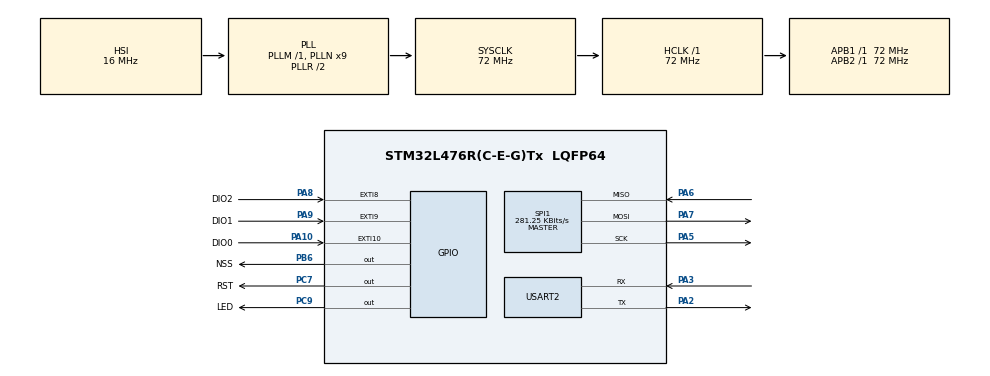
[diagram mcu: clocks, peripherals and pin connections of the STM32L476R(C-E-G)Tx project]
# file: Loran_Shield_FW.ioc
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Mcu.Family=STM32L4
Mcu.Name=STM32L476R(C-E-G)Tx
Mcu.Package=LQFP64
NVIC.EXTI15_10_IRQn=true\:0\:0\:false\:false\:true\:true\:true
NVIC.EXTI9_5_IRQn=true\:0\:0\:false\:false\:true\:true\:true
NVIC.PriorityGroup=NVIC_PRIORITYGROUP_4
NVIC.TIM4_IRQn=true\:0\:0\:false\:false\:true\:true\:true
PA10.GPIO_Label=DIO0
PA10.Signal=GPXTI10
PA13\ (JTMS-SWDIO).Mode=Serial_Wire
PA13\ (JTMS-SWDIO).Signal=SYS_JTMS-SWDIO
PA14\ (JTCK-SWCLK).Mode=Serial_Wire
PA14\ (JTCK-SWCLK).Signal=SYS_JTCK-SWCLK
PA2.Mode=Asynchronous
PA2.Signal=USART2_TX
PA3.Mode=Asynchronous
PA3.Signal=USART2_RX
PA5.Mode=Full_Duplex_Master
PA5.Signal=SPI1_SCK
PA6.Mode=Full_Duplex_Master
PA6.Signal=SPI1_MISO
PA7.Mode=Full_Duplex_Master
PA7.Signal=SPI1_MOSI
PA8.GPIO_Label=DIO2
PA8.Signal=GPXTI8
PA9.GPIO_Label=DIO1
PA9.Signal=GPXTI9
PB6.GPIO_Label=NSS
PB6.Signal=GPIO_Output
PC14-OSC32_IN\ (PC14).Mode=LSE-External-Oscillator
PC14-OSC32_IN\ (PC14).Signal=RCC_OSC32_IN
PC15-OSC32_OUT\ (PC15).Mode=LSE-External-Oscillator
PC15-OSC32_OUT\ (PC15).Signal=RCC_OSC32_OUT
PC7.GPIO_Label=RST
PC7.Signal=GPIO_Output
PC9.GPIO_Label=LED
PC9.Signal=GPIO_Output
PH0-OSC_IN\ (PH0).Mode=HSE-External-Oscillator
PH0-OSC_IN\ (PH0).Signal=RCC_OSC_IN
PH1-OSC_OUT\ (PH1).Mode=HSE-External-Oscillator
PH1-OSC_OUT\ (PH1).Signal=RCC_OSC_OUT
ProjectManager.HeapSize=0x200
ProjectManager.StackSize=0x400
ProjectManager.TargetToolchain=SW4STM32
RCC.ADCFreq_Value=64000000
RCC.AHBFreq_Value=72000000
RCC.APB1Freq_Value=72000000
RCC.APB1TimFreq_Value=72000000
RCC.APB2Freq_Value=72000000
RCC.APB2TimFreq_Value=72000000
RCC.CortexFreq_Value=72000000
RCC.HCLKFreq_Value=72000000
RCC.HSE_VALUE=8000000
RCC.HSI_VALUE=16000000
RCC.MSI_VALUE=4000000
RCC.PLLN=9
RCC.PLLSourceVirtual=RCC_PLLSOURCE_HSI
RCC.PREFETCH_ENABLE=1
RCC.SYSCLKFreq_VALUE=72000000
RCC.SYSCLKSource=RCC_SYSCLKSOURCE_PLLCLK
RCC.USBFreq_Value=64000000
RCC.VCOOutputFreq_Value=144000000
SPI1.BaudRatePrescaler=SPI_BAUDRATEPRESCALER_256
SPI1.CalculateBaudRate=281.25 KBits/s
SPI1.DataSize=SPI_DATASIZE_8BIT
SPI1.Direction=SPI_DIRECTION_2LINES
SPI1.Mode=SPI_MODE_MASTER
SPI1.VirtualType=VM_MASTER
TIM4.Channel-Output\ Compare1\ No\ Output=TIM_CHANNEL_1
TIM4.Period=65535-1
TIM4.Prescaler=2250-1
USART2.VirtualMode-Asynchronous=VM_ASYNC
VP_TIM4_VS_no_output1.Mode=Output Compare1 No Output
board=NUCLEO-L476RG

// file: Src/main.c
/* USER CODE BEGIN Header */
/**
  ******************************************************************************
  * @file           : main.c
  * @brief          : Main program body
  ******************************************************************************
  * @attention
  *
  * <h2><center>&copy; Copyright (c) 2019 STMicroelectronics.
  * All rights reserved.</center></h2>
  *
  * This software component is licensed by ST under BSD 3-Clause license,
  * the "License"; You may not use this file except in compliance with the
  * License. You may obtain a copy of the License at:
  *                        opensource.org/licenses/BSD-3-Clause
  ******************************************************************************
  */
/* USER CODE END Header */

#include "main.h"

/* USER CODE BEGIN Includes */
#include "lmic.h"
#include "debug.h"
/* USER CODE END Includes */

/* USER CODE BEGIN PV */
/* Private variables ---------------------------------------------------------*/
// application router ID (LSBF)  < ------- IMPORTANT
static const u1_t APPEUI[8]  = { 0xB0, 0x53, 0x02, 0xD0, 0x7E, 0xD5, 0xB3, 0x70 };
// unique device ID (LSBF)       < ------- IMPORTANT
static const u1_t DEVEUI[8]  = { 0x89, 0x21, 0xDB, 0xE9, 0x84, 0xEC, 0x6D, 0x00 };
// device-specific AES key (derived from device EUI)
static const u1_t DEVKEY[16] = { 0xD6, 0x44, 0x3A, 0x75, 0x2F, 0x91, 0xBA, 0xF9, 0xC0, 0x22, 0x71, 0x9C, 0x73, 0x2B, 0xAD, 0xD7 };
/* USER CODE END PV */

void SystemClock_Config(void);
static void MX_GPIO_Init(void);
static void MX_SPI1_Init(void);
static void MX_TIM4_Init(void);
static void MX_USART2_UART_Init(void);

/* USER CODE BEGIN 0 */

// provide application router ID (8 bytes, LSBF)
void os_getArtEui (u1_t* buf) {
    memcpy(buf, APPEUI, 8);
}

// provide device ID (8 bytes, LSBF)
void os_getDevEui (u1_t* buf) {
    memcpy(buf, DEVEUI, 8);
}

// provide device key (16 bytes)
void os_getDevKey (u1_t* buf) {
    memcpy(buf, DEVKEY, 16);
}

void initsensor(){
	 // Here you init your sensors
}

void initfunc (osjob_t* j) {
    // intialize sensor hardware
    initsensor();
    // reset MAC state
    LMIC_reset();
    // start joining
    LMIC_startJoining();
    // init done - onEvent() callback will be invoked...
}

u2_t readsensor(){
	u2_t value = 0xDA;    /// read from evrything ...make your own sensor
	return value;
}

static osjob_t reportjob;

// report sensor value every minute
static void reportfunc (osjob_t* j) {
    // read sensor
    u2_t val = readsensor();
    debug_val("val = ", val);
    // prepare and schedule data for transmission
    LMIC.frame[0] = val << 8;
    LMIC.frame[1] = val;
    LMIC_setTxData2(1, LMIC.frame, 2, 0); // (port 1, 2 bytes, unconfirmed)
    // reschedule job in 60 seconds
    os_setTimedCallback(j, os_getTime()+sec2osticks(10), reportfunc);
}

//////////////////////////////////////////////////
// LMIC EVENT CALLBACK
//////////////////////////////////////////////////

void onEvent (ev_t ev) {
    debug_event(ev);

    switch(ev) {

      // network joined, session established
      case EV_JOINING:
       	  debug_str("try joining\r\n");
       	  break;
      case EV_JOINED:
          debug_led(1);
          // kick-off periodic sensor job
          reportfunc(&reportjob);
          break;
      case EV_JOIN_FAILED:
    	  debug_str("join failed\r\n");
    	  break;
      case EV_SCAN_TIMEOUT:
    	  debug_str("EV_SCAN_TIMEOUT\r\n");
		  break;
	  case EV_BEACON_FOUND:
		  debug_str("EV_BEACON_FOUND\r\n");
		  break;
	  case EV_BEACON_MISSED:
		  debug_str("EV_BEACON_MISSED\r\n");
		  break;
	  case EV_BEACON_TRACKED:
		  debug_str("EV_BEACON_TRACKED\r\n");
		  break;
	  case EV_RFU1:
		  debug_str("EV_RFU1\r\n");
		  break;
	  case EV_REJOIN_FAILED:
		  debug_str("EV_REJOIN_FAILED\r\n");
		  break;
	  case EV_TXCOMPLETE:
		  debug_str("EV_TXCOMPLETE (includes waiting for RX windows)\r\n");
		  if (LMIC.txrxFlags & TXRX_ACK)
			  debug_str("Received ack\r\n");
		  if (LMIC.dataLen) {
			  debug_str("Received ");
			  debug_str(LMIC.dataLen);
			  debug_str(" bytes of payload\r\n");
		  }
		  break;
	  case EV_LOST_TSYNC:
		  debug_str("EV_LOST_TSYNC\r\n");
		  break;
	  case EV_RESET:
		  debug_str("EV_RESET\r\n");
		  break;
	  case EV_RXCOMPLETE:
		  // data received in ping slot
		  debug_str("EV_RXCOMPLETE\r\n");
		  break;
	  case EV_LINK_DEAD:
		  debug_str("EV_LINK_DEAD\r\n");
		  break;
	  case EV_LINK_ALIVE:
		  debug_str("EV_LINK_ALIVE\r\n");
		  break;
	  default:
		   debug_str("Unknown event\r\n");
		  break;
    }
}

/* USER CODE END 0 */

int main(void)
{

  /* MCU Configuration--------------------------------------------------------*/

  /* Reset of all peripherals, Initializes the Flash interface and the Systick. */
  HAL_Init();

  /* Configure the system clock */
  SystemClock_Config();

  /* Initialize all configured peripherals */
  MX_GPIO_Init();
  MX_SPI1_Init();
  MX_TIM4_Init();
  MX_USART2_UART_Init();
  HAL_TIM_Base_Start_IT(&htim4);    // <-----------  change to your setup
  __HAL_SPI_ENABLE(&hspi1);         // <-----------  change to your setup

  osjob_t initjob;

  // initialize runtime env
  os_init();

  // initialize debug library
  debug_init();
  // setup initial job
   os_setCallback(&initjob, initfunc);
  // execute scheduled jobs and events
  os_runloop();
  // (not reached)
  return 0;

  /* Infinite loop */
  while (1)
  {

  }
}

void SystemClock_Config(void)
{
  RCC_OscInitTypeDef RCC_OscInitStruct = {0};
  RCC_ClkInitTypeDef RCC_ClkInitStruct = {0};
  RCC_PeriphCLKInitTypeDef PeriphClkInit = {0};

  /** Initializes the CPU, AHB and APB busses clocks
  */
  RCC_OscInitStruct.OscillatorType = RCC_OSCILLATORTYPE_HSI;
  RCC_OscInitStruct.HSIState = RCC_HSI_ON;
  RCC_OscInitStruct.HSICalibrationValue = RCC_HSICALIBRATION_DEFAULT;
  RCC_OscInitStruct.PLL.PLLState = RCC_PLL_ON;
  RCC_OscInitStruct.PLL.PLLSource = RCC_PLLSOURCE_HSI;
  RCC_OscInitStruct.PLL.PLLM = 1;
  RCC_OscInitStruct.PLL.PLLN = 9;
  RCC_OscInitStruct.PLL.PLLP = RCC_PLLP_DIV7;
  RCC_OscInitStruct.PLL.PLLQ = RCC_PLLQ_DIV2;
  RCC_OscInitStruct.PLL.PLLR = RCC_PLLR_DIV2;
  if (HAL_RCC_OscConfig(&RCC_OscInitStruct) != HAL_OK)
  {
    Error_Handler();
  }
  /** Initializes the CPU, AHB and APB busses clocks
  */
  RCC_ClkInitStruct.ClockType = RCC_CLOCKTYPE_HCLK|RCC_CLOCKTYPE_SYSCLK
                              |RCC_CLOCKTYPE_PCLK1|RCC_CLOCKTYPE_PCLK2;
  RCC_ClkInitStruct.SYSCLKSource = RCC_SYSCLKSOURCE_PLLCLK;
  RCC_ClkInitStruct.AHBCLKDivider = RCC_SYSCLK_DIV1;
  RCC_ClkInitStruct.APB1CLKDivider = RCC_HCLK_DIV1;
  RCC_ClkInitStruct.APB2CLKDivider = RCC_HCLK_DIV1;

  if (HAL_RCC_ClockConfig(&RCC_ClkInitStruct, FLASH_LATENCY_4) != HAL_OK)
  {
    Error_Handler();
  }
  PeriphClkInit.PeriphClockSelection = RCC_PERIPHCLK_USART2;
  PeriphClkInit.Usart2ClockSelection = RCC_USART2CLKSOURCE_PCLK1;
  if (HAL_RCCEx_PeriphCLKConfig(&PeriphClkInit) != HAL_OK)
  {
    Error_Handler();
  }
  /** Configure the main internal regulator output voltage
  */
  if (HAL_PWREx_ControlVoltageScaling(PWR_REGULATOR_VOLTAGE_SCALE1) != HAL_OK)
  {
    Error_Handler();
  }
}

static void MX_SPI1_Init(void)
{

  /* SPI1 parameter configuration*/
  hspi1.Instance = SPI1;
  hspi1.Init.Mode = SPI_MODE_MASTER;
  hspi1.Init.Direction = SPI_DIRECTION_2LINES;
  hspi1.Init.DataSize = SPI_DATASIZE_8BIT;
  hspi1.Init.CLKPolarity = SPI_POLARITY_LOW;
  hspi1.Init.CLKPhase = SPI_PHASE_1EDGE;
  hspi1.Init.NSS = SPI_NSS_SOFT;
  hspi1.Init.BaudRatePrescaler = SPI_BAUDRATEPRESCALER_256;
  hspi1.Init.FirstBit = SPI_FIRSTBIT_MSB;
  hspi1.Init.TIMode = SPI_TIMODE_DISABLE;
  hspi1.Init.CRCCalculation = SPI_CRCCALCULATION_DISABLE;
  hspi1.Init.CRCPolynomial = 7;
  hspi1.Init.CRCLength = SPI_CRC_LENGTH_DATASIZE;
  hspi1.Init.NSSPMode = SPI_NSS_PULSE_ENABLE;
  if (HAL_SPI_Init(&hspi1) != HAL_OK)
  {
    Error_Handler();
  }

}

static void MX_TIM4_Init(void)
{

  TIM_MasterConfigTypeDef sMasterConfig = {0};
  TIM_OC_InitTypeDef sConfigOC = {0};

  htim4.Instance = TIM4;
  htim4.Init.Prescaler = 2250-1;
  htim4.Init.CounterMode = TIM_COUNTERMODE_UP;
  htim4.Init.Period = 65535-1;
  htim4.Init.ClockDivision = TIM_CLOCKDIVISION_DIV1;
  htim4.Init.AutoReloadPreload = TIM_AUTORELOAD_PRELOAD_DISABLE;
  if (HAL_TIM_OC_Init(&htim4) != HAL_OK)
  {
    Error_Handler();
  }
  sMasterConfig.MasterOutputTrigger = TIM_TRGO_RESET;
  sMasterConfig.MasterSlaveMode = TIM_MASTERSLAVEMODE_DISABLE;
  if (HAL_TIMEx_MasterConfigSynchronization(&htim4, &sMasterConfig) != HAL_OK)
  {
    Error_Handler();
  }
  sConfigOC.OCMode = TIM_OCMODE_TIMING;
  sConfigOC.Pulse = 0;
  sConfigOC.OCPolarity = TIM_OCPOLARITY_HIGH;
  sConfigOC.OCFastMode = TIM_OCFAST_DISABLE;
  if (HAL_TIM_OC_ConfigChannel(&htim4, &sConfigOC, TIM_CHANNEL_1) != HAL_OK)
  {
    Error_Handler();
  }

}

static void MX_USART2_UART_Init(void)
{

  huart2.Instance = USART2;
  huart2.Init.BaudRate = 115200;
  huart2.Init.WordLength = UART_WORDLENGTH_8B;
  huart2.Init.StopBits = UART_STOPBITS_1;
  huart2.Init.Parity = UART_PARITY_NONE;
  huart2.Init.Mode = UART_MODE_TX_RX;
  huart2.Init.HwFlowCtl = UART_HWCONTROL_NONE;
  huart2.Init.OverSampling = UART_OVERSAMPLING_16;
  huart2.Init.OneBitSampling = UART_ONE_BIT_SAMPLE_DISABLE;
  huart2.AdvancedInit.AdvFeatureInit = UART_ADVFEATURE_NO_INIT;
  if (HAL_UART_Init(&huart2) != HAL_OK)
  {
    Error_Handler();
  }

}

static void MX_GPIO_Init(void)
{
  GPIO_InitTypeDef GPIO_InitStruct = {0};

  /* GPIO Ports Clock Enable */
  __HAL_RCC_GPIOC_CLK_ENABLE();
  __HAL_RCC_GPIOH_CLK_ENABLE();
  __HAL_RCC_GPIOA_CLK_ENABLE();
  __HAL_RCC_GPIOB_CLK_ENABLE();

  /*Configure GPIO pin Output Level */
  HAL_GPIO_WritePin(GPIOC, RST_Pin|LED_Pin, GPIO_PIN_RESET);

  /*Configure GPIO pin Output Level */
  HAL_GPIO_WritePin(NSS_GPIO_Port, NSS_Pin, GPIO_PIN_RESET);

  /*Configure GPIO pins : RST_Pin LED_Pin */
  GPIO_InitStruct.Pin = RST_Pin|LED_Pin;
  GPIO_InitStruct.Mode = GPIO_MODE_OUTPUT_PP;
  GPIO_InitStruct.Pull = GPIO_NOPULL;
  GPIO_InitStruct.Speed = GPIO_SPEED_FREQ_LOW;
  HAL_GPIO_Init(GPIOC, &GPIO_InitStruct);

  /*Configure GPIO pins : DIO2_Pin DIO1_Pin DIO0_Pin */
  GPIO_InitStruct.Pin = DIO2_Pin|DIO1_Pin|DIO0_Pin;
  GPIO_InitStruct.Mode = GPIO_MODE_IT_RISING;
  GPIO_InitStruct.Pull = GPIO_NOPULL;
  HAL_GPIO_Init(GPIOA, &GPIO_InitStruct);

  /*Configure GPIO pin : NSS_Pin */
  GPIO_InitStruct.Pin = NSS_Pin;
  GPIO_InitStruct.Mode = GPIO_MODE_OUTPUT_PP;
  GPIO_InitStruct.Pull = GPIO_NOPULL;
  GPIO_InitStruct.Speed = GPIO_SPEED_FREQ_LOW;
  HAL_GPIO_Init(NSS_GPIO_Port, &GPIO_InitStruct);

  /* EXTI interrupt init*/
  HAL_NVIC_SetPriority(EXTI9_5_IRQn, 0, 0);
  HAL_NVIC_EnableIRQ(EXTI9_5_IRQn);

  HAL_NVIC_SetPriority(EXTI15_10_IRQn, 0, 0);
  HAL_NVIC_EnableIRQ(EXTI15_10_IRQn);

}

void Error_Handler(void)
{
}

/************************ (C) COPYRIGHT STMicroelectronics *****END OF FILE****/
